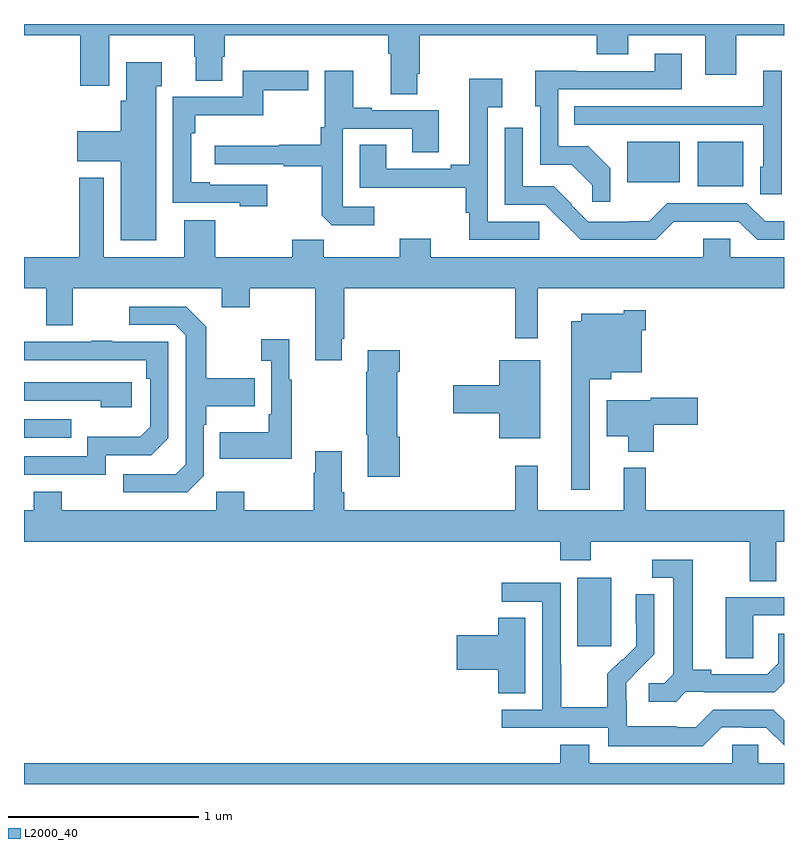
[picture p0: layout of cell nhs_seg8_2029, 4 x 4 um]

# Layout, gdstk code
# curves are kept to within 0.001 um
import gdstk
lib = gdstk.Library(unit=1e-6, precision=1e-09)
def R(c, l, rs):  # rectangles x0, y0, x1, y1
    for r in rs: c.add(gdstk.rectangle(r[:2], r[2:], *l))
def P(c, l, *ps):  # polygons
    for p in ps: c.add(gdstk.Polygon(p, *l))
L2000_40 = (2000, 40)

nhs_seg8_2029 = lib.new_cell('nhs_seg8_2029')
R(nhs_seg8_2029, L2000_40, [(241.913,1106.625,242.092,1106.986), (239,1107.723,239.249,1107.819), (242.546,1109.045,242.785,1109.281), (242.174,1109.066,242.452,1109.281)])
P(nhs_seg8_2029, L2000_40, [(241.069,1109.638),(241.082,1109.638),(241.082,1109.84),(242.015,1109.84),(242.015,1109.741),(242.179,1109.741),(242.179,1109.84),(242.585,1109.84),(242.585,1109.634),(242.749,1109.634),(242.749,1109.84),(243,1109.84),(243,1109.9),(239,1109.9),(239,1109.84),(239.297,1109.84),(239.297,1109.574),(239.449,1109.574),(239.449,1109.84),(239.896,1109.84),(239.896,1109.727),(239.903,1109.727),(239.903,1109.602),(240.043,1109.602),(240.043,1109.727),(240.056,1109.727),(240.056,1109.84),(240.917,1109.84),(240.917,1109.744),(240.929,1109.744),(240.929,1109.53),(241.069,1109.53)],
  [(242.085,1109.14),(241.969,1109.256),(241.812,1109.256),(241.812,1109.556),(242.461,1109.556),(242.461,1109.743),(242.321,1109.743),(242.321,1109.652),(241.909,1109.652),(241.909,1109.654),(241.691,1109.654),(241.691,1109.466),(241.716,1109.466),(241.716,1109.16),(241.882,1109.16),(241.99,1109.052),(241.99,1108.965),(242.085,1108.965)],
  [(239.695,1109.573),(239.725,1109.573),(239.725,1109.698),(239.537,1109.698),(239.537,1109.496),(239.51,1109.496),(239.51,1109.335),(239.28,1109.335),(239.28,1109.177),(239.51,1109.177),(239.51,1108.763),(239.695,1108.763)],
  [(240.28,1109.055),(239.977,1109.055),(239.977,1109.068),(239.88,1109.068),(239.88,1109.324),(239.9,1109.324),(239.9,1109.42),(240.259,1109.42),(240.259,1109.551),(240.496,1109.551),(240.496,1109.654),(240.15,1109.654),(240.15,1109.517),(239.784,1109.517),(239.784,1108.959),(240.135,1108.959),(240.135,1108.94),(240.28,1108.94)],
  [(242.988,1109.653),(242.891,1109.653),(242.891,1109.467),(242.557,1109.467),(242.557,1109.466),(241.897,1109.466),(241.897,1109.37),(242.892,1109.37),(242.892,1109.148),(242.876,1109.148),(242.876,1109.005),(242.988,1109.005)],
  [(240.844,1108.938),(240.678,1108.938),(240.678,1109.349),(241.043,1109.349),(241.043,1109.224),(241.183,1109.224),(241.183,1109.445),(240.829,1109.445),(240.829,1109.458),(240.733,1109.458),(240.733,1109.653),(240.582,1109.653),(240.582,1109.356),(240.562,1109.356),(240.562,1109.264),(240.343,1109.264),(240.343,1109.26),(240.003,1109.26),(240.003,1109.163),(240.367,1109.163),(240.367,1109.151),(240.567,1109.151),(240.567,1108.893),(240.619,1108.842),(240.844,1108.842)],
  [(241.713,1108.86),(241.44,1108.86),(241.44,1109.462),(241.516,1109.462),(241.516,1109.611),(241.343,1109.611),(241.343,1109.159),(241.247,1109.159),(241.247,1109.139),(240.907,1109.139),(240.907,1109.264),(240.767,1109.264),(240.767,1109.038),(241.324,1109.038),(241.324,1108.907),(241.343,1108.907),(241.343,1108.764),(241.713,1108.764)],
  [(242.42,1108.859),(242.763,1108.86),(242.859,1108.764),(243,1108.764),(243,1108.861),(242.9,1108.861),(242.805,1108.956),(242.385,1108.956),(242.291,1108.862),(242.186,1108.862),(242.186,1108.86),(241.971,1108.86),(241.881,1108.95),(241.883,1108.952),(241.789,1109.046),(241.626,1109.046),(241.626,1109.353),(241.53,1109.353),(241.53,1108.95),(241.743,1108.95),(241.931,1108.764),(242.325,1108.764)],
  [(240.673,1108.243),(240.686,1108.243),(240.686,1108.508),(241.585,1108.508),(241.585,1108.245),(241.704,1108.245),(241.704,1108.508),(243,1108.508),(243,1108.672),(242.718,1108.672),(242.718,1108.77),(242.576,1108.77),(242.576,1108.672),(241.141,1108.672),(241.141,1108.771),(240.977,1108.771),(240.977,1108.672),(240.577,1108.672),(240.577,1108.765),(240.413,1108.765),(240.413,1108.672),(240.007,1108.672),(240.007,1108.867),(239.843,1108.867),(239.843,1108.672),(239.419,1108.672),(239.419,1109.092),(239.291,1109.092),(239.291,1108.672),(239,1108.672),(239,1108.508),(239.117,1108.508),(239.117,1108.314),(239.257,1108.314),(239.257,1108.508),(240.041,1108.508),(240.041,1108.409),(240.189,1108.409),(240.189,1108.508),(240.533,1108.508),(240.533,1108.131),(240.673,1108.131)],
  [(239.946,1107.522),(239.946,1107.791),(239.959,1107.791),(239.959,1107.887),(240.215,1107.887),(240.215,1108.035),(239.959,1108.035),(239.959,1108.307),(239.853,1108.413),(239.553,1108.413),(239.553,1108.317),(239.796,1108.317),(239.85,1108.263),(239.85,1107.582),(239.799,1107.531),(239.523,1107.531),(239.523,1107.435),(239.859,1107.435)],
  [(241.977,1108.031),(242.092,1108.031),(242.092,1108.067),(242.251,1108.067),(242.251,1108.289),(242.273,1108.289),(242.273,1108.393),(242.157,1108.393),(242.157,1108.375),(241.934,1108.375),(241.934,1108.336),(241.88,1108.336),(241.88,1107.45),(241.977,1107.45)],
  [(240.409,1108.027),(240.397,1108.027),(240.397,1108.24),(240.249,1108.24),(240.249,1108.127),(240.3,1108.127),(240.3,1107.847),(240.288,1107.847),(240.288,1107.751),(240.031,1107.751),(240.031,1107.611),(240.409,1107.611)],
  [(239.43,1107.63),(239.67,1107.63),(239.76,1107.72),(239.76,1108.227),(239.465,1108.227),(239.465,1108.232),(239.353,1108.232),(239.353,1108.227),(239,1108.227),(239,1108.131),(239.644,1108.131),(239.644,1108.034),(239.664,1108.034),(239.664,1107.78),(239.611,1107.727),(239.334,1107.727),(239.334,1107.624),(239,1107.624),(239,1107.528),(239.43,1107.528)],
  [(240.977,1107.728),(240.964,1107.728),(240.964,1108.07),(240.977,1108.07),(240.977,1108.183),(240.809,1108.183),(240.809,1108.07),(240.802,1108.07),(240.802,1107.739),(240.809,1107.739),(240.809,1107.516),(240.977,1107.516)],
  [(241.717,1108.129),(241.502,1108.129),(241.502,1107.998),(241.26,1107.998),(241.26,1107.851),(241.502,1107.851),(241.502,1107.719),(241.717,1107.719)],
  [(239.566,1108.014),(239,1108.014),(239,1107.918),(239.405,1107.918),(239.405,1107.884),(239.566,1107.884)],
  [(242.315,1107.79),(242.545,1107.79),(242.545,1107.932),(242.298,1107.932),(242.298,1107.919),(242.066,1107.919),(242.066,1107.731),(242.18,1107.731),(242.18,1107.65),(242.315,1107.65)],
  [(242.959,1107.176),(243,1107.176),(243,1107.34),(242.273,1107.34),(242.273,1107.565),(242.156,1107.565),(242.156,1107.34),(241.703,1107.34),(241.703,1107.574),(241.585,1107.574),(241.585,1107.34),(240.686,1107.34),(240.686,1107.436),(240.673,1107.436),(240.673,1107.652),(240.533,1107.652),(240.533,1107.539),(240.526,1107.539),(240.526,1107.34),(240.159,1107.34),(240.159,1107.439),(240.012,1107.439),(240.012,1107.34),(239.199,1107.34),(239.199,1107.439),(239.051,1107.439),(239.051,1107.34),(239,1107.34),(239,1107.176),(241.823,1107.176),(241.823,1107.077),(241.983,1107.077),(241.983,1107.176),(242.819,1107.176),(242.819,1106.968),(242.959,1106.968)],
  [(242.484,1106.385),(242.578,1106.385),(242.578,1106.382),(242.95,1106.382),(243,1106.432),(243,1106.692),(242.969,1106.692),(242.969,1106.535),(242.912,1106.478),(242.617,1106.478),(242.617,1106.501),(242.521,1106.501),(242.521,1107.081),(242.307,1107.081),(242.307,1106.985),(242.417,1106.985),(242.417,1106.477),(242.37,1106.43),(242.289,1106.43),(242.289,1106.333),(242.432,1106.333)],
  [(242.673,1106.199),(242.789,1106.199),(242.789,1106.196),(242.907,1106.196),(243,1106.103),(243,1106.235),(242.943,1106.292),(242.628,1106.292),(242.535,1106.199),(242.435,1106.199),(242.435,1106.203),(242.172,1106.203),(242.172,1106.337),(242.17,1106.337),(242.17,1106.434),(242.316,1106.582),(242.316,1106.9),(242.22,1106.9),(242.22,1106.746),(242.222,1106.746),(242.222,1106.624),(242.151,1106.553),(242.148,1106.556),(242.071,1106.479),(242.071,1106.305),(241.827,1106.305),(241.827,1106.528),(241.824,1106.528),(241.824,1106.958),(241.515,1106.958),(241.515,1106.859),(241.728,1106.859),(241.728,1106.292),(241.515,1106.292),(241.515,1106.196),(242.076,1106.196),(242.076,1106.099),(242.573,1106.099)],
  [(242.838,1106.787),(243,1106.787),(243,1106.883),(242.693,1106.883),(242.693,1106.563),(242.838,1106.563)],
  [(241.639,1106.774),(241.496,1106.774),(241.496,1106.684),(241.278,1106.684),(241.278,1106.501),(241.496,1106.501),(241.496,1106.377),(241.639,1106.377)],
  [(243,1106.008),(242.865,1106.008),(242.865,1106.106),(242.727,1106.106),(242.727,1106.008),(241.975,1106.008),(241.975,1106.107),(241.823,1106.107),(241.823,1106.008),(239,1106.008),(239,1105.9),(243,1105.9)])

lib.write_gds('nhs_seg8_2029.gds')
